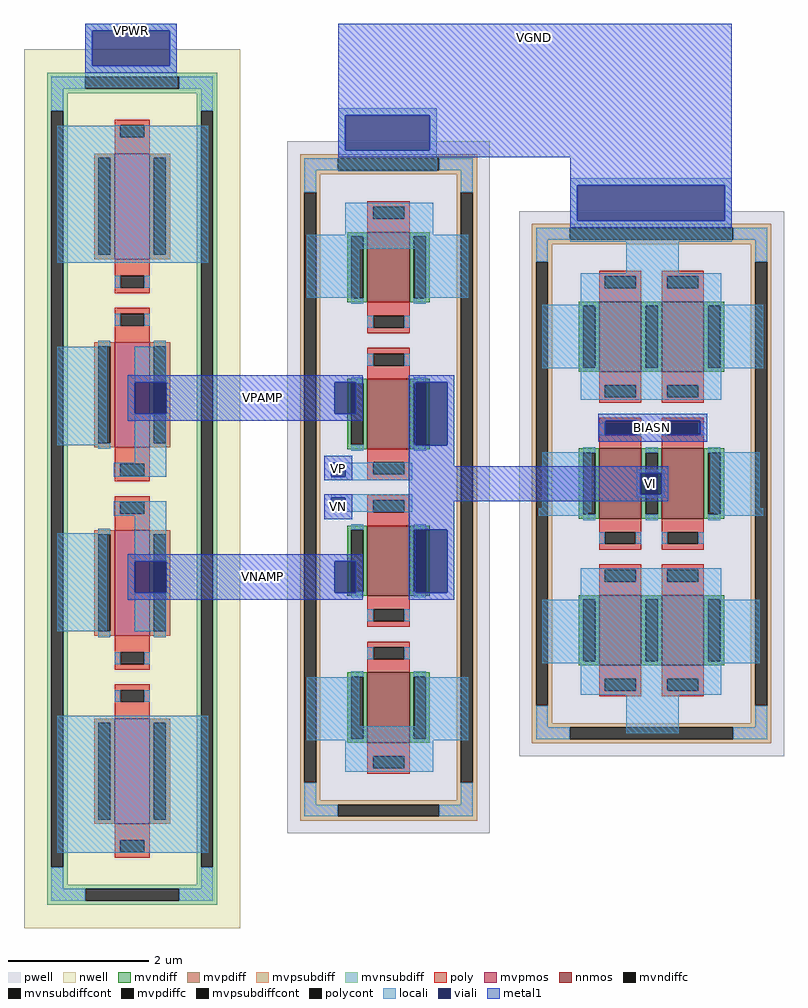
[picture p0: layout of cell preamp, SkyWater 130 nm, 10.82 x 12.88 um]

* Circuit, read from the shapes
.subckt preamp BIASN VGND VI VN VNAMP VP VPAMP VPWR
XM1 VGND VGND VGND VGND sky130_fd_pr__nfet_03v3_nvt w=1 l=0.6 m=6
XM2 VI VN VNAMP VGND sky130_fd_pr__nfet_03v3_nvt w=1 l=0.6
XM3 VI VP VPAMP VGND sky130_fd_pr__nfet_03v3_nvt w=1 l=0.6
XM4 VI BIASN VGND VGND sky130_fd_pr__nfet_03v3_nvt w=1 l=0.6 m=2
XM5 VPWR VPWR VPWR VPWR sky130_fd_pr__pfet_g5v0d10v5 w=1.5 l=0.5 m=2
XM6 VNAMP VNAMP VPWR VPWR sky130_fd_pr__pfet_g5v0d10v5 w=1.5 l=0.5
XM7 VPAMP VPAMP VPWR VPWR sky130_fd_pr__pfet_g5v0d10v5 w=1.5 l=0.5
.ends

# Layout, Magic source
magic
tech sky130A
magscale 1 2
<< nwell >>
rect 60 1210 150 1540
rect 0 1170 150 1210
rect 0 1060 150 1100
rect 60 730 150 1060
<< pwell >>
rect 880 1260 950 1440
rect 620 1160 850 1210
rect 620 1070 850 1120
rect 890 840 950 1020
rect 660 330 910 460
<< locali >>
rect -80 2440 180 2460
rect -80 2340 -60 2440
rect 160 2340 180 2440
rect -80 2280 180 2340
rect 640 2200 920 2220
rect -160 1780 270 2170
rect 640 2100 660 2200
rect 900 2100 920 2200
rect 640 2040 920 2100
rect 1300 2000 1760 2020
rect 660 1860 910 1950
rect 1300 1900 1320 2000
rect 1740 1900 1760 2000
rect 550 1820 1010 1860
rect 1300 1840 1760 1900
rect 550 1680 700 1820
rect 860 1680 1010 1820
rect 1460 1750 1610 1840
rect 1330 1660 1730 1750
rect -160 1260 -20 1540
rect 60 1440 150 1540
rect 1220 1480 1850 1660
rect 60 1210 150 1350
rect 1330 1390 1730 1480
rect 0 1170 150 1210
rect 660 1170 850 1210
rect 620 1160 850 1170
rect 620 1110 850 1120
rect 0 1060 150 1100
rect 660 1070 850 1110
rect 1220 1080 1360 1240
rect 1490 1180 1570 1190
rect 1490 1120 1500 1180
rect 1560 1120 1570 1180
rect 1490 1110 1570 1120
rect 1210 1070 1360 1080
rect 1700 1080 1840 1240
rect 1700 1070 1850 1080
rect 1210 1060 1350 1070
rect 1710 1060 1850 1070
rect -160 730 -20 1010
rect 60 930 150 1060
rect 60 730 150 840
rect 1330 820 1730 910
rect 1220 640 1840 820
rect -160 100 270 490
rect 550 460 700 600
rect 860 460 1010 600
rect 1330 550 1730 640
rect 550 420 1010 460
rect 1460 440 1610 550
rect 660 330 910 420
<< viali >>
rect -60 2340 160 2440
rect 660 2100 900 2200
rect 1320 1900 1740 2000
rect 60 1350 150 1440
rect 630 1350 690 1440
rect 860 1260 950 1440
rect 1400 1290 1490 1330
rect 1580 1290 1670 1330
rect 620 1170 660 1210
rect 620 1070 660 1110
rect 1500 1120 1560 1180
rect 60 840 150 930
rect 630 840 690 930
rect 860 840 950 1020
<< metal1 >>
rect -80 2440 180 2460
rect -80 2340 -60 2440
rect 160 2340 180 2440
rect -80 2320 180 2340
rect 640 2200 1760 2460
rect 640 2100 660 2200
rect 900 2100 1760 2200
rect 640 2080 1760 2100
rect 1300 2000 1760 2080
rect 1300 1900 1320 2000
rect 1740 1900 1760 2000
rect 1300 1880 1760 1900
rect 40 1440 710 1460
rect 40 1350 60 1440
rect 150 1350 630 1440
rect 690 1350 710 1440
rect 40 1330 710 1350
rect 840 1440 970 1460
rect 840 1260 860 1440
rect 950 1260 970 1440
rect 1380 1330 1690 1350
rect 1380 1290 1400 1330
rect 1490 1290 1580 1330
rect 1670 1290 1690 1330
rect 1380 1270 1690 1290
rect 600 1210 680 1230
rect 600 1170 620 1210
rect 660 1170 680 1210
rect 600 1160 680 1170
rect 840 1200 970 1260
rect 840 1180 1580 1200
rect 840 1120 1500 1180
rect 1560 1120 1580 1180
rect 600 1110 680 1120
rect 600 1070 620 1110
rect 660 1070 680 1110
rect 600 1050 680 1070
rect 840 1100 1580 1120
rect 840 1020 970 1100
rect 40 930 710 950
rect 40 840 60 930
rect 150 840 630 930
rect 690 840 710 930
rect 40 820 710 840
rect 840 840 860 1020
rect 950 840 970 1020
rect 840 820 970 840
use sky130_fd_pr__nfet_03v3_nvt_DWHJCV  sky130_fd_pr__nfet_03v3_nvt_DWHJCV_0
transform 1 0 1532 0 1 1151
box -377 -776 377 776
use sky130_fd_pr__nfet_03v3_nvt_ZJHJCF  sky130_fd_pr__nfet_03v3_nvt_ZJHJCF_0
transform 1 0 783 0 1 1140
box -288 -985 288 985
use sky130_fd_pr__pfet_g5v0d10v5_CABTE7  sky130_fd_pr__pfet_g5v0d10v5_CABTE7_0
transform 1 0 53 0 1 1136
box -308 -1251 308 1251
<< labels >>
rlabel metal1 640 2380 1760 2460 1 VGND
rlabel metal1 -80 2420 180 2460 1 VPWR
rlabel metal1 1480 1100 1580 1200 1 VI
rlabel metal1 1380 1270 1690 1350 1 BIASN
rlabel metal1 390 1330 460 1460 1 VPAMP
rlabel metal1 390 820 460 950 1 VNAMP
rlabel metal1 600 1160 680 1230 1 VP
rlabel metal1 600 1050 680 1120 1 VN
<< end >>

# cell sky130_fd_pr__nfet_03v3_nvt_DWHJCV: kit device sky130_fd_pr__nfet_03v3_nvt, w 1 l 0.6 m 3 nf 2 diffcov 100 polycov 100 guard 1 glc 1 grc 1 gtc 1 gbc 1 tbcov 100 rlcov 100 topc 1 botc 1 poverlap 0 doverlap 1 lmin 0.50 wmin 0.42 compatible {sky130_fd_pr__nfet_01v8 sky130_fd_pr__nfet_01v8_lvt sky130_fd_bs_flash__special_sonosfet_star sky130_fd_pr__nfet_g5v0d10v5 sky130_fd_pr__nfet_05v0_nvt sky130_fd_pr__nfet_03v3_nvt} full_metal 1 viasrc 100 viadrn 100 viagate 100 viagb 0 viagr 0 viagl 0 viagt 0

# cell sky130_fd_pr__nfet_03v3_nvt_ZJHJCF: kit device sky130_fd_pr__nfet_03v3_nvt, w 1 l 0.6 m 4 nf 1 diffcov 100 polycov 100 guard 1 glc 1 grc 1 gtc 1 gbc 1 tbcov 100 rlcov 100 topc 1 botc 1 poverlap 0 doverlap 1 lmin 0.50 wmin 0.42 compatible {sky130_fd_pr__nfet_01v8 sky130_fd_pr__nfet_01v8_lvt sky130_fd_bs_flash__special_sonosfet_star sky130_fd_pr__nfet_g5v0d10v5 sky130_fd_pr__nfet_05v0_nvt sky130_fd_pr__nfet_03v3_nvt} full_metal 1 viasrc 100 viadrn 100 viagate 100 viagb 0 viagr 0 viagl 0 viagt 0

# cell sky130_fd_pr__pfet_g5v0d10v5_CABTE7: kit device sky130_fd_pr__pfet_g5v0d10v5, w 1.5 l 0.50 m 4 nf 1 diffcov 100 polycov 100 guard 1 glc 1 grc 1 gtc 1 gbc 1 tbcov 100 rlcov 100 topc 1 botc 1 poverlap 0 doverlap 1 lmin 0.50 wmin 0.42 compatible {sky130_fd_pr__pfet_01v8 sky130_fd_pr__pfet_01v8_lvt sky130_fd_pr__pfet_01v8_hvt sky130_fd_pr__pfet_g5v0d10v5} full_metal 1 viasrc 100 viadrn 100 viagate 100 viagb 0 viagr 0 viagl 0 viagt 0
